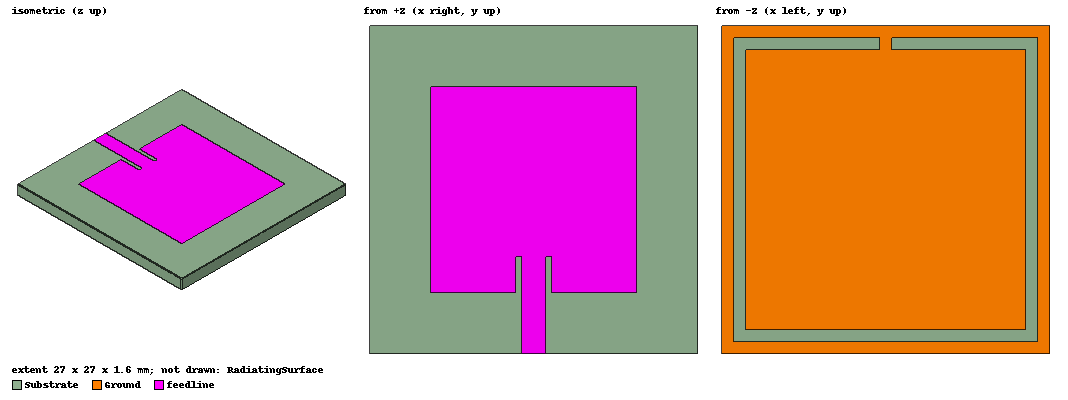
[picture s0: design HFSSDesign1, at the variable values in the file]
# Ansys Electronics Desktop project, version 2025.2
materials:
  vacuum: permittivity=1
  FR4_epoxy: permittivity=4.4 dielectric_loss_tangent=0.02

design HFSSDesign1 (HFSS, HFSS Terminal Network, model units mm)
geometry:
  Substrate [FR4_epoxy] = box(corner=(0mm, 0mm, 0mm), size=(27mm, 27mm, 1.6mm))
  Ground = rectangle(corner=(0mm, 0mm, 0mm), x_size=27mm, y_size=27mm)
  Transmission = rectangle(corner=(12mm, 5mm, 1.6mm), x_size=3mm, y_size=3mm)
  patch = rectangle(corner=(5mm, 5mm, 1.6mm), x_size=17mm, y_size=17mm)
  feedline = rectangle(corner=(12.5mm, 0mm, 1.6mm), x_size=2mm, y_size=8mm)
  patch.subtract(Transmission)
  feedline.unite(patch)
  port = rectangle(corner=(12.5mm, 0mm, 1.6mm), z_size=-1.6mm, x_size=2mm)
  RadiatingSurface [vacuum] = region(absolute_offset=19.230769mm on all sides)
  Ground1 = rectangle(corner=(1mm, 1mm, 0mm), x_size=25mm, y_size=1mm)
  Ground2 = rectangle(corner=(1mm, 25mm, 0mm), x_size=25mm, y_size=1mm)
  Ground3 = rectangle(corner=(1mm, 1mm, 0mm), x_size=1mm, y_size=25mm)
  Ground4 = rectangle(corner=(25mm, 1mm, 0mm), x_size=1mm, y_size=25mm)
  Ground1.unite(Ground2, Ground3, Ground4)
  Rectangle1 = rectangle(corner=(13mm, 25mm, 0mm), x_size=1mm, y_size=1mm)
  Ground1.subtract(Rectangle1)
  Ground.subtract(Ground1)
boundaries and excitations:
  PerfE1: Perfect E Objects=Ground
  PerfE2: Perfect E Objects=feedline
  Open1: Radiation Objects=RadiatingSurface
  1: Lumped Port Objects=port LumpedPortType=Modal Modes{Mode1{IntLine{(13.5, 0, 0) -> (13.5, 0, 1.6)} CharImp=Zpi}} Impedance=50ohm
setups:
  Setup1: HfssDriven Frequency=5.2GHz MaxDeltaS=0.02 MaximumPasses=20 MinimumPasses=1 MinimumConvergedPasses=1 PercentRefinement=30 BasisOrder=1 PortAccuracy=2 DrivenSolverType="Direct Solver"
    sweep Sweep: 1GHz to 10GHz, 401 points; Type=Interpolating InterpTolerance=0.5 InterpMaxSolns=250 PassivityErrorTolerance=0.0001
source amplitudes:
  1:1: 1V 0deg
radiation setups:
  3D: Infinite Sphere Theta=0deg..180deg step 2deg Phi=-180deg..180deg step 2deg
  Elevation: Infinite Sphere Theta=-180deg..180deg step 1deg Phi=0deg..90deg step 90deg
  Azimuth: Infinite Sphere Theta=90deg..90deg step 0deg Phi=-180deg..180deg step 1deg
  Infinite Sphere1: Infinite Sphere Theta=0deg..180deg step 1deg Phi=0deg..360deg step 1deg
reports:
  S Parameter Plot1: dB(S(1,1)) vs Freq on Setup1 : Sweep
  S Parameter Chart1: S(1,1) on Setup1 : Sweep [Freq=all]
  Active VSWR Plot1: dB(ActiveVSWR(1:1)) vs Freq on Setup1 : Sweep
  Gain Plot1: dB(GainTotal) vs Phi, Theta on Setup1 : LastAdaptive, 3D [Freq=5.2GHz]
  Antenna Params Plot1: PeakDirectivity vs Freq on Setup1 : LastAdaptive
